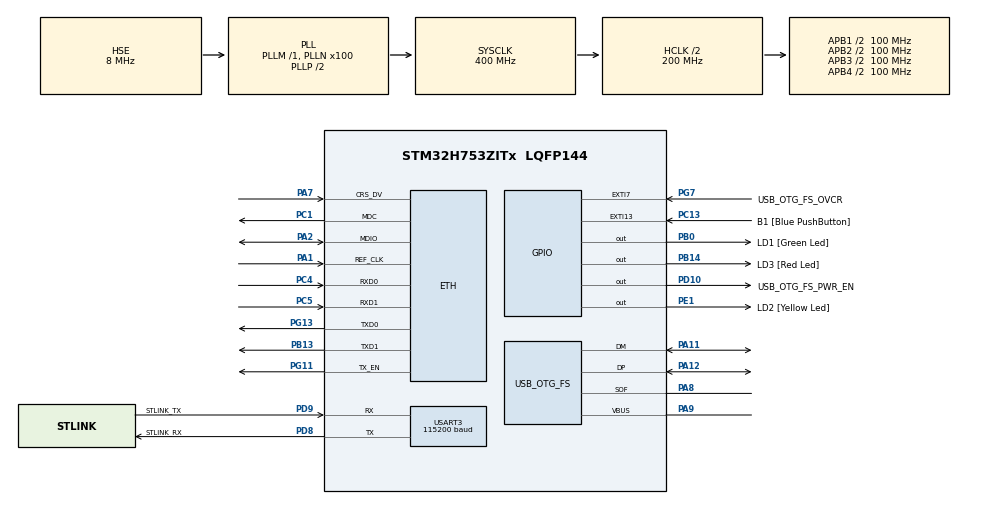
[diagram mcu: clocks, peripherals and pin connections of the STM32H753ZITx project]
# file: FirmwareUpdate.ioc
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CORTEX_M7.AccessPermission-Cortex_Memory_Protection_Unit_Region0_Settings=MPU_REGION_FULL_ACCESS
CORTEX_M7.BaseAddress-Cortex_Memory_Protection_Unit_Region0_Settings=0x30000000
CORTEX_M7.CPU_DCache=Enabled
CORTEX_M7.CPU_ICache=Enabled
CORTEX_M7.DisableExec-Cortex_Memory_Protection_Unit_Region0_Settings=MPU_INSTRUCTION_ACCESS_DISABLE
CORTEX_M7.Enable-Cortex_Memory_Protection_Unit_Region0_Settings=MPU_REGION_ENABLE
CORTEX_M7.IsShareable-Cortex_Memory_Protection_Unit_Region0_Settings=MPU_ACCESS_SHAREABLE
CORTEX_M7.MPU_Control=MPU_PRIVILEGED_DEFAULT
CORTEX_M7.Size-Cortex_Memory_Protection_Unit_Region0_Settings=MPU_REGION_SIZE_32KB
CORTEX_M7.TypeExtField-Cortex_Memory_Protection_Unit_Region0_Settings=MPU_TEX_LEVEL1
ETH.ETH_RX_DESC_CNT=4
ETH.ETH_TX_DESC_CNT=4
ETH.MACAddr=00\:80\:E1\:00\:00\:00
ETH.MediaInterface=HAL_ETH_RMII_MODE
ETH.RxBuffAddress=0x30040200
ETH.RxBuffLen=1524
ETH.RxDescAddress=0x30000000
ETH.TxDescAddress=0x30000080
LWIP.BSP.number=1
LWIP.GATEWAY_ADDRESS=192.168.000.001
LWIP.HTTPD_USE_CUSTOM_FSDATA=0
LWIP.IP_ADDRESS=192.168.000.010
LWIP.LWIP_DHCP=0
LWIP.LWIP_HTTPD=1
LWIP.LWIP_HTTPD_CUSTOM_FILES=1
LWIP.LWIP_HTTPD_SUPPORT_POST=1
LWIP.LWIP_RAM_HEAP_POINTER=0x30002000
LWIP.MEM_SIZE=10*1024
LWIP.NETMASK_ADDRESS=255.255.255.000
LWIP.Version=v2.1.2_Cube
LWIP0.BSP.STBoard=false
LWIP0.BSP.api=BSP_COMPONENT_DRIVER
LWIP0.BSP.component=LAN8742
LWIP0.BSP.instance=LAN8742
LWIP0.BSP.name=Driver_PHY
LWIP0.BSP.semaphore=S_LAN8742
LWIP0.BSP.solution=LAN8742
Mcu.Family=STM32H7
Mcu.Name=STM32H753ZITx
Mcu.Package=LQFP144
NVIC.ETH_IRQn=true\:0\:0\:false\:false\:true\:true\:true\:true
NVIC.EXTI15_10_IRQn=true\:0\:0\:false\:false\:true\:true\:true\:true
NVIC.PriorityGroup=NVIC_PRIORITYGROUP_4
PA1.GPIO_Speed=GPIO_SPEED_FREQ_VERY_HIGH
PA1.Mode=RMII
PA1.Signal=ETH_REF_CLK
PA11.Mode=Device_Only
PA11.Signal=USB_OTG_FS_DM
PA12.Mode=Device_Only
PA12.Signal=USB_OTG_FS_DP
PA2.GPIO_Speed=GPIO_SPEED_FREQ_VERY_HIGH
PA2.Mode=RMII
PA2.Signal=ETH_MDIO
PA7.GPIO_Speed=GPIO_SPEED_FREQ_VERY_HIGH
PA7.Mode=RMII
PA7.Signal=ETH_CRS_DV
PA8.Mode=Activate_SOF_FS
PA8.Signal=USB_OTG_FS_SOF
PA9.Mode=Activate_VBUS
PA9.Signal=USB_OTG_FS_VBUS
PB0.GPIO_Label=LD1 [Green Led]
PB0.Signal=GPIO_Output
PB13.GPIO_Speed=GPIO_SPEED_FREQ_VERY_HIGH
PB13.Mode=RMII
PB13.Signal=ETH_TXD1
PB14.GPIO_Label=LD3 [Red Led]
PB14.Signal=GPIO_Output
PC1.GPIO_Speed=GPIO_SPEED_FREQ_VERY_HIGH
PC1.Mode=RMII
PC1.Signal=ETH_MDC
PC13.GPIO_Label=B1 [Blue PushButton]
PC13.Signal=GPXTI13
PC14-OSC32_IN\ (OSC32_IN).Mode=LSE-External-Oscillator
PC14-OSC32_IN\ (OSC32_IN).Signal=RCC_OSC32_IN
PC15-OSC32_OUT\ (OSC32_OUT).Mode=LSE-External-Oscillator
PC15-OSC32_OUT\ (OSC32_OUT).Signal=RCC_OSC32_OUT
PC4.GPIO_Speed=GPIO_SPEED_FREQ_VERY_HIGH
PC4.Mode=RMII
PC4.Signal=ETH_RXD0
PC5.GPIO_Speed=GPIO_SPEED_FREQ_VERY_HIGH
PC5.Mode=RMII
PC5.Signal=ETH_RXD1
PD10.GPIO_Label=USB_OTG_FS_PWR_EN
PD10.Signal=GPIO_Output
PD8.GPIO_Label=STLINK_RX
PD8.Mode=Asynchronous
PD8.Signal=USART3_TX
PD9.GPIO_Label=STLINK_TX
PD9.Mode=Asynchronous
PD9.Signal=USART3_RX
PE1.GPIO_Label=LD2 [Yellow Led]
PE1.Signal=GPIO_Output
PG11.GPIO_Speed=GPIO_SPEED_FREQ_VERY_HIGH
PG11.Mode=RMII
PG11.Signal=ETH_TX_EN
PG13.GPIO_Speed=GPIO_SPEED_FREQ_VERY_HIGH
PG13.Mode=RMII
PG13.Signal=ETH_TXD0
PG7.GPIO_Label=USB_OTG_FS_OVCR
PG7.Signal=GPXTI7
PH0-OSC_IN\ (PH0).Mode=HSE-External-Clock-Source
PH0-OSC_IN\ (PH0).Signal=RCC_OSC_IN
PH1-OSC_OUT\ (PH1).Signal=RCC_OSC_OUT
ProjectManager.HeapSize=0x200
ProjectManager.StackSize=0x400
ProjectManager.TargetToolchain=STM32CubeIDE
RCC.ADCFreq_Value=16125000
RCC.APB1Freq_Value=100000000
RCC.APB2Freq_Value=100000000
RCC.APB3Freq_Value=100000000
RCC.APB4Freq_Value=100000000
RCC.CortexFreq_Value=400000000
RCC.D1PPRE=RCC_APB3_DIV2
RCC.D2PPRE1=RCC_APB1_DIV2
RCC.D2PPRE2=RCC_APB2_DIV2
RCC.D3PPRE=RCC_APB4_DIV2
RCC.DIVM1=1
RCC.DIVN1=100
RCC.DIVQ1=13
RCC.HCLKFreq_Value=200000000
RCC.HPRE=RCC_HCLK_DIV2
RCC.HSE_VALUE=8000000
RCC.PLL2FRACN=0
RCC.PLL3FRACN=0
RCC.PLLFRACN=0
RCC.PWR_Regulator_Voltage_Scale=PWR_REGULATOR_VOLTAGE_SCALE1
RCC.SYSCLKFreq_VALUE=400000000
RCC.SYSCLKSource=RCC_SYSCLKSOURCE_PLLCLK
RCC.USBFreq_Value=61538461.538461536
USART3.AutoBaudRateEnableParam=UART_ADVFEATURE_AUTOBAUDRATE_DISABLE
USART3.BaudRate=115200
USART3.ClockPrescaler=PRESCALER_DIV1
USART3.DMADisableonRxErrorParam=ADVFEATURE_DMA_ENABLEONRXERROR
USART3.DataInvertParam=ADVFEATURE_DATAINV_DISABLE
USART3.FIFOMode=FIFOMODE_DISABLE
USART3.MSBFirstParam=ADVFEATURE_MSBFIRST_DISABLE
USART3.Mode=MODE_TX_RX
USART3.OneBitSampling=UART_ONE_BIT_SAMPLE_DISABLE
USART3.OverSampling=UART_OVERSAMPLING_16
USART3.OverrunDisableParam=ADVFEATURE_OVERRUN_ENABLE
USART3.Parity=PARITY_NONE
USART3.RXFIFOThreshold=RXFIFO_THRESHOLD_1EIGHTHFULL
USART3.RxPinLevelInvertParam=ADVFEATURE_RXINV_DISABLE
USART3.StopBits=STOPBITS_1
USART3.SwapParam=ADVFEATURE_SWAP_DISABLE
USART3.TXFIFOThreshold=TXFIFO_THRESHOLD_1EIGHTHFULL
USART3.TxPinLevelInvertParam=ADVFEATURE_TXINV_DISABLE
USART3.VirtualMode-Asynchronous=VM_ASYNC
USART3.WordLength=WORDLENGTH_8B
USB_OTG_FS.Sof_enable=ENABLE
USB_OTG_FS.VirtualMode=Device_Only
USB_OTG_FS.battery_charging_enable=ENABLE
USB_OTG_FS.low_power_enable=DISABLE
USB_OTG_FS.lpm_enable=DISABLE
USB_OTG_FS.use_dedicated_ep1=DISABLE
USB_OTG_FS.vbus_sensing_enable=ENABLE
VP_LWIP_VS_Enabled.Mode=Enabled
board=NUCLEO-H753ZI

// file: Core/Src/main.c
/* USER CODE BEGIN Header */
/**
  ******************************************************************************
  * @file           : main.c
  * @brief          : Main program body
  ******************************************************************************
  * @attention
  *
  * Copyright (c) 2024 STMicroelectronics.
  * All rights reserved.
  *
  * This software is licensed under terms that can be found in the LICENSE file
  * in the root directory of this software component.
  * If no LICENSE file comes with this software, it is provided AS-IS.
  *
  ******************************************************************************
  */
/* USER CODE END Header */
#include "main.h"
#include "lwip.h"

/* USER CODE BEGIN Includes */
#include <string.h>
#include "timemanagement.h"

#include "tcpServerRAW.h"
#include "lwip/apps/httpd.h"

#include "../udp/udp.h"
#include "../ota/ota_stm32h753ZI.h"
/* USER CODE END Includes */

UART_HandleTypeDef huart3;

PCD_HandleTypeDef hpcd_USB_OTG_FS;

void SystemClock_Config(void);
static void MPU_Config(void);
static void MX_GPIO_Init(void);
static void MX_USART3_UART_Init(void);
static void MX_USB_OTG_FS_PCD_Init(void);

/* USER CODE BEGIN 0 */

Timer timer_250ms;
Timer timer_1500ms;
Timer timer_10000ms;
bool buttonPressed;

/* USER CODE END 0 */

int main(void)
{

  /* MPU Configuration--------------------------------------------------------*/
  MPU_Config();

  /* Enable the CPU Cache */

  /* Enable I-Cache---------------------------------------------------------*/
  SCB_EnableICache();

  /* Enable D-Cache---------------------------------------------------------*/
  SCB_EnableDCache();

  /* MCU Configuration--------------------------------------------------------*/

  /* Reset of all peripherals, Initializes the Flash interface and the Systick. */
  HAL_Init();

  /* Configure the system clock */
  SystemClock_Config();

  /* Initialize all configured peripherals */

  MX_GPIO_Init();
  MX_USART3_UART_Init();
  MX_USB_OTG_FS_PCD_Init();
  MX_LWIP_Init();
  /* USER CODE BEGIN 2 */

  timer_init(&timer_250ms, 250, &TimeSinceStartup64);
  timer_init(&timer_1500ms, 1500, &TimeSinceStartup64);
  timer_init(&timer_10000ms, 10000, &TimeSinceStartup64);
  // tcp_server_init();
  httpd_init();
  udp_create_instance();

  // Check if user button is pressed
  if(HAL_GPIO_ReadPin(B1_GPIO_Port, B1_Pin) == GPIO_PIN_SET){

  }

  /* USER CODE END 2 */

  /* Infinite loop */
  while (1)
  {

    /* USER CODE BEGIN 3 */
	  CalculateTime();

	  if(timer_run(&timer_10000ms)){
		  udp_send_message("10s timer triggered");
	  }
	  if(timer_run(&timer_250ms)){
	      HAL_GPIO_WritePin(LD1_GPIO_Port, LD1_Pin, BankSwapBit() ? GPIO_PIN_SET : GPIO_PIN_RESET);
	      HAL_GPIO_WritePin(LD3_GPIO_Port, LD3_Pin, new_fw_loaded ? GPIO_PIN_SET : GPIO_PIN_RESET);
	      HAL_GPIO_TogglePin(LD2_GPIO_Port, LD2_Pin);
	  }
	  if(buttonPressed){
	      if(new_fw_loaded){
	          HAL_NVIC_SystemReset(); // Reset system to swap banks and load new fw
	      }
	      buttonPressed = false;
	  }
	  MX_LWIP_Process();
  }
  /* USER CODE END 3 */
}

void SystemClock_Config(void)
{
  RCC_OscInitTypeDef RCC_OscInitStruct = {0};
  RCC_ClkInitTypeDef RCC_ClkInitStruct = {0};

  /** Supply configuration update enable
  */
  HAL_PWREx_ConfigSupply(PWR_LDO_SUPPLY);

  /** Configure the main internal regulator output voltage
  */
  __HAL_PWR_VOLTAGESCALING_CONFIG(PWR_REGULATOR_VOLTAGE_SCALE1);

  while(!__HAL_PWR_GET_FLAG(PWR_FLAG_VOSRDY)) {}

  /** Initializes the RCC Oscillators according to the specified parameters
  * in the RCC_OscInitTypeDef structure.
  */
  RCC_OscInitStruct.OscillatorType = RCC_OSCILLATORTYPE_HSE;
  RCC_OscInitStruct.HSEState = RCC_HSE_BYPASS;
  RCC_OscInitStruct.PLL.PLLState = RCC_PLL_ON;
  RCC_OscInitStruct.PLL.PLLSource = RCC_PLLSOURCE_HSE;
  RCC_OscInitStruct.PLL.PLLM = 1;
  RCC_OscInitStruct.PLL.PLLN = 100;
  RCC_OscInitStruct.PLL.PLLP = 2;
  RCC_OscInitStruct.PLL.PLLQ = 13;
  RCC_OscInitStruct.PLL.PLLR = 2;
  RCC_OscInitStruct.PLL.PLLRGE = RCC_PLL1VCIRANGE_3;
  RCC_OscInitStruct.PLL.PLLVCOSEL = RCC_PLL1VCOWIDE;
  RCC_OscInitStruct.PLL.PLLFRACN = 0;
  if (HAL_RCC_OscConfig(&RCC_OscInitStruct) != HAL_OK)
  {
    Error_Handler();
  }

  /** Initializes the CPU, AHB and APB buses clocks
  */
  RCC_ClkInitStruct.ClockType = RCC_CLOCKTYPE_HCLK|RCC_CLOCKTYPE_SYSCLK
                              |RCC_CLOCKTYPE_PCLK1|RCC_CLOCKTYPE_PCLK2
                              |RCC_CLOCKTYPE_D3PCLK1|RCC_CLOCKTYPE_D1PCLK1;
  RCC_ClkInitStruct.SYSCLKSource = RCC_SYSCLKSOURCE_PLLCLK;
  RCC_ClkInitStruct.SYSCLKDivider = RCC_SYSCLK_DIV1;
  RCC_ClkInitStruct.AHBCLKDivider = RCC_HCLK_DIV2;
  RCC_ClkInitStruct.APB3CLKDivider = RCC_APB3_DIV2;
  RCC_ClkInitStruct.APB1CLKDivider = RCC_APB1_DIV2;
  RCC_ClkInitStruct.APB2CLKDivider = RCC_APB2_DIV2;
  RCC_ClkInitStruct.APB4CLKDivider = RCC_APB4_DIV2;

  if (HAL_RCC_ClockConfig(&RCC_ClkInitStruct, FLASH_LATENCY_2) != HAL_OK)
  {
    Error_Handler();
  }
}

static void MX_USART3_UART_Init(void)
{

  huart3.Instance = USART3;
  huart3.Init.BaudRate = 115200;
  huart3.Init.WordLength = UART_WORDLENGTH_8B;
  huart3.Init.StopBits = UART_STOPBITS_1;
  huart3.Init.Parity = UART_PARITY_NONE;
  huart3.Init.Mode = UART_MODE_TX_RX;
  huart3.Init.HwFlowCtl = UART_HWCONTROL_NONE;
  huart3.Init.OverSampling = UART_OVERSAMPLING_16;
  huart3.Init.OneBitSampling = UART_ONE_BIT_SAMPLE_DISABLE;
  huart3.Init.ClockPrescaler = UART_PRESCALER_DIV1;
  huart3.AdvancedInit.AdvFeatureInit = UART_ADVFEATURE_NO_INIT;
  if (HAL_UART_Init(&huart3) != HAL_OK)
  {
    Error_Handler();
  }
  if (HAL_UARTEx_SetTxFifoThreshold(&huart3, UART_TXFIFO_THRESHOLD_1_8) != HAL_OK)
  {
    Error_Handler();
  }
  if (HAL_UARTEx_SetRxFifoThreshold(&huart3, UART_RXFIFO_THRESHOLD_1_8) != HAL_OK)
  {
    Error_Handler();
  }
  if (HAL_UARTEx_DisableFifoMode(&huart3) != HAL_OK)
  {
    Error_Handler();
  }

}

static void MX_USB_OTG_FS_PCD_Init(void)
{

  hpcd_USB_OTG_FS.Instance = USB_OTG_FS;
  hpcd_USB_OTG_FS.Init.dev_endpoints = 9;
  hpcd_USB_OTG_FS.Init.speed = PCD_SPEED_FULL;
  hpcd_USB_OTG_FS.Init.dma_enable = DISABLE;
  hpcd_USB_OTG_FS.Init.phy_itface = PCD_PHY_EMBEDDED;
  hpcd_USB_OTG_FS.Init.Sof_enable = ENABLE;
  hpcd_USB_OTG_FS.Init.low_power_enable = DISABLE;
  hpcd_USB_OTG_FS.Init.lpm_enable = DISABLE;
  hpcd_USB_OTG_FS.Init.battery_charging_enable = ENABLE;
  hpcd_USB_OTG_FS.Init.vbus_sensing_enable = ENABLE;
  hpcd_USB_OTG_FS.Init.use_dedicated_ep1 = DISABLE;
  if (HAL_PCD_Init(&hpcd_USB_OTG_FS) != HAL_OK)
  {
    Error_Handler();
  }

}

static void MX_GPIO_Init(void)
{
  GPIO_InitTypeDef GPIO_InitStruct = {0};

  /* GPIO Ports Clock Enable */
  __HAL_RCC_GPIOC_CLK_ENABLE();
  __HAL_RCC_GPIOH_CLK_ENABLE();
  __HAL_RCC_GPIOA_CLK_ENABLE();
  __HAL_RCC_GPIOB_CLK_ENABLE();
  __HAL_RCC_GPIOD_CLK_ENABLE();
  __HAL_RCC_GPIOG_CLK_ENABLE();
  __HAL_RCC_GPIOE_CLK_ENABLE();

  /*Configure GPIO pin Output Level */
  HAL_GPIO_WritePin(GPIOB, LD1_Pin|LD3_Pin, GPIO_PIN_RESET);

  /*Configure GPIO pin Output Level */
  HAL_GPIO_WritePin(USB_OTG_FS_PWR_EN_GPIO_Port, USB_OTG_FS_PWR_EN_Pin, GPIO_PIN_RESET);

  /*Configure GPIO pin Output Level */
  HAL_GPIO_WritePin(LD2_GPIO_Port, LD2_Pin, GPIO_PIN_RESET);

  /*Configure GPIO pin : B1_Pin */
  GPIO_InitStruct.Pin = B1_Pin;
  GPIO_InitStruct.Mode = GPIO_MODE_IT_RISING;
  GPIO_InitStruct.Pull = GPIO_NOPULL;
  HAL_GPIO_Init(B1_GPIO_Port, &GPIO_InitStruct);

  /*Configure GPIO pins : LD1_Pin LD3_Pin */
  GPIO_InitStruct.Pin = LD1_Pin|LD3_Pin;
  GPIO_InitStruct.Mode = GPIO_MODE_OUTPUT_PP;
  GPIO_InitStruct.Pull = GPIO_NOPULL;
  GPIO_InitStruct.Speed = GPIO_SPEED_FREQ_LOW;
  HAL_GPIO_Init(GPIOB, &GPIO_InitStruct);

  /*Configure GPIO pin : USB_OTG_FS_PWR_EN_Pin */
  GPIO_InitStruct.Pin = USB_OTG_FS_PWR_EN_Pin;
  GPIO_InitStruct.Mode = GPIO_MODE_OUTPUT_PP;
  GPIO_InitStruct.Pull = GPIO_NOPULL;
  GPIO_InitStruct.Speed = GPIO_SPEED_FREQ_LOW;
  HAL_GPIO_Init(USB_OTG_FS_PWR_EN_GPIO_Port, &GPIO_InitStruct);

  /*Configure GPIO pin : USB_OTG_FS_OVCR_Pin */
  GPIO_InitStruct.Pin = USB_OTG_FS_OVCR_Pin;
  GPIO_InitStruct.Mode = GPIO_MODE_IT_RISING;
  GPIO_InitStruct.Pull = GPIO_NOPULL;
  HAL_GPIO_Init(USB_OTG_FS_OVCR_GPIO_Port, &GPIO_InitStruct);

  /*Configure GPIO pin : LD2_Pin */
  GPIO_InitStruct.Pin = LD2_Pin;
  GPIO_InitStruct.Mode = GPIO_MODE_OUTPUT_PP;
  GPIO_InitStruct.Pull = GPIO_NOPULL;
  GPIO_InitStruct.Speed = GPIO_SPEED_FREQ_LOW;
  HAL_GPIO_Init(LD2_GPIO_Port, &GPIO_InitStruct);

  /* EXTI interrupt init*/
  HAL_NVIC_SetPriority(EXTI15_10_IRQn, 0, 0);
  HAL_NVIC_EnableIRQ(EXTI15_10_IRQn);

}

/* USER CODE BEGIN 4 */

void HAL_GPIO_EXTI_Callback(uint16_t GPIO_Pin)
{
  if(GPIO_Pin == B1_Pin) {
    buttonPressed = true;
  }
  else{
      __NOP();
  }
}
/* USER CODE END 4 */

 /* MPU Configuration */

void MPU_Config(void)
{
  MPU_Region_InitTypeDef MPU_InitStruct = {0};

  /* Disables the MPU */
  HAL_MPU_Disable();

  /** Initializes and configures the Region and the memory to be protected
  */
  MPU_InitStruct.Enable = MPU_REGION_ENABLE;
  MPU_InitStruct.Number = MPU_REGION_NUMBER0;
  MPU_InitStruct.BaseAddress = 0x30000000;
  MPU_InitStruct.Size = MPU_REGION_SIZE_32KB;
  MPU_InitStruct.SubRegionDisable = 0x0;
  MPU_InitStruct.TypeExtField = MPU_TEX_LEVEL1;
  MPU_InitStruct.AccessPermission = MPU_REGION_FULL_ACCESS;
  MPU_InitStruct.DisableExec = MPU_INSTRUCTION_ACCESS_DISABLE;
  MPU_InitStruct.IsShareable = MPU_ACCESS_SHAREABLE;
  MPU_InitStruct.IsCacheable = MPU_ACCESS_NOT_CACHEABLE;
  MPU_InitStruct.IsBufferable = MPU_ACCESS_NOT_BUFFERABLE;

  HAL_MPU_ConfigRegion(&MPU_InitStruct);
  /* Enables the MPU */
  HAL_MPU_Enable(MPU_PRIVILEGED_DEFAULT);

}

void Error_Handler(void)
{
  __disable_irq();
  while (1)
  {
  }
}
